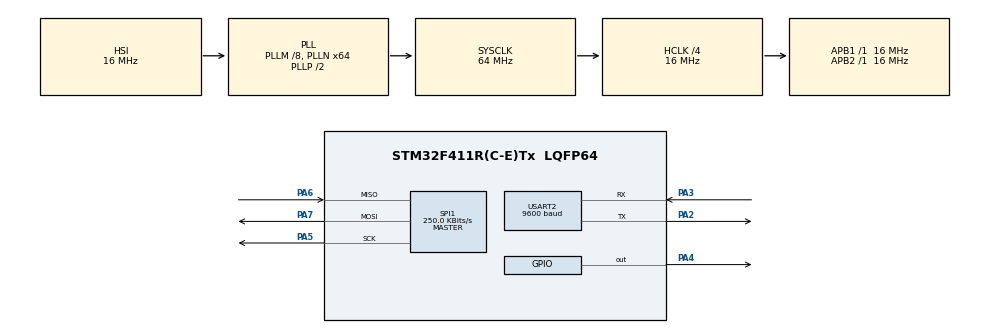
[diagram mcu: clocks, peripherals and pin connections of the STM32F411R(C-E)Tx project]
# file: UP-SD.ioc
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Mcu.Family=STM32F4
Mcu.Name=STM32F411R(C-E)Tx
Mcu.Package=LQFP64
NVIC.PriorityGroup=NVIC_PRIORITYGROUP_0
PA2.Mode=Asynchronous
PA2.Signal=USART2_TX
PA3.Mode=Asynchronous
PA3.Signal=USART2_RX
PA4.Signal=GPIO_Output
PA5.Mode=Full_Duplex_Master
PA5.Signal=SPI1_SCK
PA6.Mode=Full_Duplex_Master
PA6.Signal=SPI1_MISO
PA7.Mode=Full_Duplex_Master
PA7.Signal=SPI1_MOSI
ProjectManager.HeapSize=0x200
ProjectManager.StackSize=0x400
ProjectManager.TargetToolchain=STM32CubeIDE
RCC.48MHZClocksFreq_Value=32000000
RCC.AHBCLKDivider=RCC_SYSCLK_DIV4
RCC.AHBFreq_Value=16000000
RCC.APB1Freq_Value=16000000
RCC.APB1TimFreq_Value=16000000
RCC.APB2Freq_Value=16000000
RCC.APB2TimFreq_Value=16000000
RCC.CortexFreq_Value=16000000
RCC.FLatency-AdvancedSettings=FLASH_LATENCY_0
RCC.HCLKFreq_Value=16000000
RCC.HSE_VALUE=8000000
RCC.HSI_VALUE=16000000
RCC.PLLM=8
RCC.PLLN=64
RCC.SYSCLKFreq_VALUE=64000000
RCC.SYSCLKSource=RCC_SYSCLKSOURCE_PLLCLK
RCC.VCOOutputFreq_Value=128000000
SPI1.BaudRatePrescaler=SPI_BAUDRATEPRESCALER_64
SPI1.CalculateBaudRate=250.0 KBits/s
SPI1.Direction=SPI_DIRECTION_2LINES
SPI1.Mode=SPI_MODE_MASTER
SPI1.VirtualType=VM_MASTER
USART2.BaudRate=9600
USART2.VirtualMode=VM_ASYNC
VP_FATFS_VS_Generic.Mode=User_defined
board=NUCLEO-F411RE

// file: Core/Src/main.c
/* USER CODE BEGIN Header */
/**
  ******************************************************************************
  * @file           : main.c
  * @brief          : Main program body
  ******************************************************************************
  * @attention
  *
  * Copyright (c) 2026 STMicroelectronics.
  * All rights reserved.
  *
  * This software is licensed under terms that can be found in the LICENSE file
  * in the root directory of this software component.
  * If no LICENSE file comes with this software, it is provided AS-IS.
  *
  ******************************************************************************
  */
/* USER CODE END Header */
#include "main.h"
#include "fatfs.h"

/* USER CODE BEGIN Includes */
#include "fatfs_sd.h"
#include "string.h"
/* USER CODE END Includes */

/* USER CODE BEGIN PM */
int ret;
/* USER CODE END PM */

SPI_HandleTypeDef hspi1;

UART_HandleTypeDef huart2;

void SystemClock_Config(void);
static void MX_GPIO_Init(void);
static void MX_SPI1_Init(void);
static void MX_USART2_UART_Init(void);

/* USER CODE BEGIN 0 */

FATFS fs;		// file system
FIL file; 		// file
FRESULT res; 	// result

char buffer[1024];
UINT br, bw;	// file read/write count

/* Capacity related variables */
FATFS *pfs;
DWORD fre_clust;
uint32_t total, free_space;

/* Function for sending Uart Data */
void send_uart(char* string)
{
	uint8_t len = strlen(string);
	HAL_UART_Transmit(&huart2, (uint8_t *)string, len, 2000);
}
/* USER CODE END 0 */

int main(void)
{

  /* MCU Configuration--------------------------------------------------------*/

  /* Reset of all peripherals, Initializes the Flash interface and the Systick. */
  HAL_Init();

  /* Configure the system clock */
  SystemClock_Config();

  /* Initialize all configured peripherals */
  MX_GPIO_Init();
  MX_SPI1_Init();
  MX_FATFS_Init();
  MX_USART2_UART_Init();
  /* USER CODE BEGIN 2 */

    char writeData[] = "Hello Karthikeyan!\r\n";

    res = f_mount(&fs, "", 1);
    if(res != FR_OK)
    {
        send_uart("Mount Failed\r\n");
        return 0;
    }

    res = f_open(&file, "new.txt", FA_CREATE_ALWAYS | FA_WRITE);

    if(res == FR_OK)
    {
        res = f_write(&file,
                      writeData,
                      strlen(writeData),
                      &bw);

        if(res == FR_OK)
        {
            send_uart("Write Success\r\n");
        }
        else
        {
            send_uart("Write Failed\r\n");
        }

        f_close(&file);
    }
    else
    {
        send_uart("Open Failed\r\n");
    }

    char readBuffer[100];
    UINT br;

    res = f_open(&file, "new.txt", FA_READ);

    if(res == FR_OK)
    {
        res = f_read(&file,
                     readBuffer,
                     sizeof(readBuffer)-1,
                     &br);

        if(res == FR_OK)
        {
            readBuffer[br] = '\0';

            send_uart("Data = ");
            send_uart(readBuffer);
        }

        f_close(&file);
    }

  /* USER CODE END 2 */

  /* Infinite loop */
  while (1)
  {

  }
}

void SystemClock_Config(void)
{
  RCC_OscInitTypeDef RCC_OscInitStruct = {0};
  RCC_ClkInitTypeDef RCC_ClkInitStruct = {0};

  /** Configure the main internal regulator output voltage
  */
  __HAL_RCC_PWR_CLK_ENABLE();
  __HAL_PWR_VOLTAGESCALING_CONFIG(PWR_REGULATOR_VOLTAGE_SCALE1);

  /** Initializes the RCC Oscillators according to the specified parameters
  * in the RCC_OscInitTypeDef structure.
  */
  RCC_OscInitStruct.OscillatorType = RCC_OSCILLATORTYPE_HSI;
  RCC_OscInitStruct.HSIState = RCC_HSI_ON;
  RCC_OscInitStruct.HSICalibrationValue = RCC_HSICALIBRATION_DEFAULT;
  RCC_OscInitStruct.PLL.PLLState = RCC_PLL_ON;
  RCC_OscInitStruct.PLL.PLLSource = RCC_PLLSOURCE_HSI;
  RCC_OscInitStruct.PLL.PLLM = 8;
  RCC_OscInitStruct.PLL.PLLN = 64;
  RCC_OscInitStruct.PLL.PLLP = RCC_PLLP_DIV2;
  RCC_OscInitStruct.PLL.PLLQ = 4;
  if (HAL_RCC_OscConfig(&RCC_OscInitStruct) != HAL_OK)
  {
    Error_Handler();
  }

  /** Initializes the CPU, AHB and APB buses clocks
  */
  RCC_ClkInitStruct.ClockType = RCC_CLOCKTYPE_HCLK|RCC_CLOCKTYPE_SYSCLK
                              |RCC_CLOCKTYPE_PCLK1|RCC_CLOCKTYPE_PCLK2;
  RCC_ClkInitStruct.SYSCLKSource = RCC_SYSCLKSOURCE_PLLCLK;
  RCC_ClkInitStruct.AHBCLKDivider = RCC_SYSCLK_DIV4;
  RCC_ClkInitStruct.APB1CLKDivider = RCC_HCLK_DIV1;
  RCC_ClkInitStruct.APB2CLKDivider = RCC_HCLK_DIV1;

  if (HAL_RCC_ClockConfig(&RCC_ClkInitStruct, FLASH_LATENCY_0) != HAL_OK)
  {
    Error_Handler();
  }
}

static void MX_SPI1_Init(void)
{

  /* SPI1 parameter configuration*/
  hspi1.Instance = SPI1;
  hspi1.Init.Mode = SPI_MODE_MASTER;
  hspi1.Init.Direction = SPI_DIRECTION_2LINES;
  hspi1.Init.DataSize = SPI_DATASIZE_8BIT;
  hspi1.Init.CLKPolarity = SPI_POLARITY_LOW;
  hspi1.Init.CLKPhase = SPI_PHASE_1EDGE;
  hspi1.Init.NSS = SPI_NSS_SOFT;
  hspi1.Init.BaudRatePrescaler = SPI_BAUDRATEPRESCALER_64;
  hspi1.Init.FirstBit = SPI_FIRSTBIT_MSB;
  hspi1.Init.TIMode = SPI_TIMODE_DISABLE;
  hspi1.Init.CRCCalculation = SPI_CRCCALCULATION_DISABLE;
  hspi1.Init.CRCPolynomial = 10;
  if (HAL_SPI_Init(&hspi1) != HAL_OK)
  {
    Error_Handler();
  }

}

static void MX_USART2_UART_Init(void)
{

  huart2.Instance = USART2;
  huart2.Init.BaudRate = 9600;
  huart2.Init.WordLength = UART_WORDLENGTH_8B;
  huart2.Init.StopBits = UART_STOPBITS_1;
  huart2.Init.Parity = UART_PARITY_NONE;
  huart2.Init.Mode = UART_MODE_TX_RX;
  huart2.Init.HwFlowCtl = UART_HWCONTROL_NONE;
  huart2.Init.OverSampling = UART_OVERSAMPLING_16;
  if (HAL_UART_Init(&huart2) != HAL_OK)
  {
    Error_Handler();
  }

}

static void MX_GPIO_Init(void)
{
  GPIO_InitTypeDef GPIO_InitStruct = {0};

  /* GPIO Ports Clock Enable */
  __HAL_RCC_GPIOA_CLK_ENABLE();

  /*Configure GPIO pin Output Level */
  HAL_GPIO_WritePin(GPIOA, GPIO_PIN_4, GPIO_PIN_RESET);

  /*Configure GPIO pin : PA4 */
  GPIO_InitStruct.Pin = GPIO_PIN_4;
  GPIO_InitStruct.Mode = GPIO_MODE_OUTPUT_PP;
  GPIO_InitStruct.Pull = GPIO_NOPULL;
  GPIO_InitStruct.Speed = GPIO_SPEED_FREQ_LOW;
  HAL_GPIO_Init(GPIOA, &GPIO_InitStruct);

}

void Error_Handler(void)
{
  __disable_irq();
  while (1)
  {
  }
}
